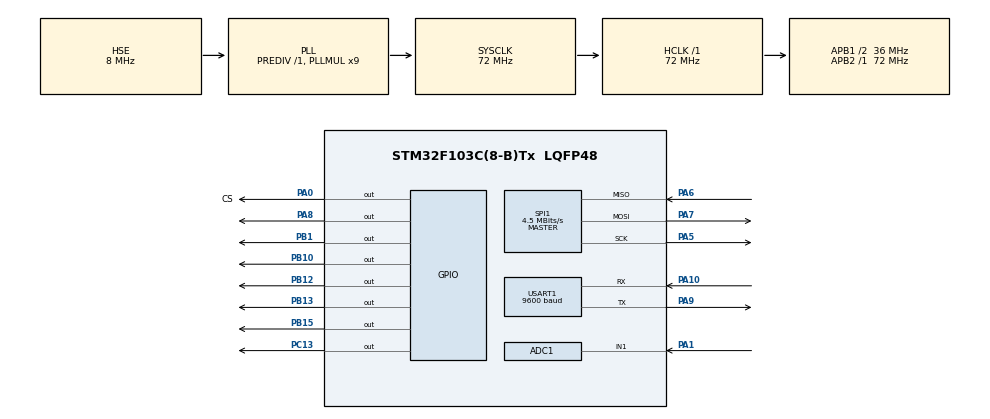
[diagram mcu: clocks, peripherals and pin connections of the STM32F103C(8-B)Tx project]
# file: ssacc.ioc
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ADC1.Channel-1\#ChannelRegularConversion=ADC_CHANNEL_1
ADC1.NbrOfConversionFlag=1
ADC1.Rank-1\#ChannelRegularConversion=1
ADC1.SamplingTime-1\#ChannelRegularConversion=ADC_SAMPLETIME_1CYCLE_5
ADC1.master=1
Mcu.Family=STM32F1
Mcu.Name=STM32F103C(8-B)Tx
Mcu.Package=LQFP48
NVIC.PriorityGroup=NVIC_PRIORITYGROUP_4
NVIC.USART1_IRQn=true\:0\:0\:false\:false\:true\:true\:true\:true
PA0-WKUP.GPIO_Label=CS
PA0-WKUP.Signal=GPIO_Output
PA1.Signal=ADCx_IN1
PA10.Mode=Asynchronous
PA10.Signal=USART1_RX
PA13.Mode=Serial_Wire
PA13.Signal=SYS_JTMS-SWDIO
PA14.Mode=Serial_Wire
PA14.Signal=SYS_JTCK-SWCLK
PA5.Mode=Full_Duplex_Master
PA5.Signal=SPI1_SCK
PA6.Mode=Full_Duplex_Master
PA6.Signal=SPI1_MISO
PA7.Mode=Full_Duplex_Master
PA7.Signal=SPI1_MOSI
PA8.Signal=GPIO_Output
PA9.Mode=Asynchronous
PA9.Signal=USART1_TX
PB1.Signal=GPIO_Output
PB10.Signal=GPIO_Output
PB12.Signal=GPIO_Output
PB13.Signal=GPIO_Output
PB15.Signal=GPIO_Output
PC13-TAMPER-RTC.Signal=GPIO_Output
PC14-OSC32_IN.Mode=LSE-External-Oscillator
PC14-OSC32_IN.Signal=RCC_OSC32_IN
PC15-OSC32_OUT.Mode=LSE-External-Oscillator
PC15-OSC32_OUT.Signal=RCC_OSC32_OUT
PD0-OSC_IN.Mode=HSE-External-Oscillator
PD0-OSC_IN.Signal=RCC_OSC_IN
PD1-OSC_OUT.Mode=HSE-External-Oscillator
PD1-OSC_OUT.Signal=RCC_OSC_OUT
ProjectManager.HeapSize=0x200
ProjectManager.StackSize=0x400
ProjectManager.TargetToolchain=SW4STM32
RCC.ADCPresc=RCC_ADCPCLK2_DIV6
RCC.AHBFreq_Value=72000000
RCC.APB1CLKDivider=RCC_HCLK_DIV2
RCC.APB1Freq_Value=36000000
RCC.APB1TimFreq_Value=72000000
RCC.APB2Freq_Value=72000000
RCC.APB2TimFreq_Value=72000000
RCC.HCLKFreq_Value=72000000
RCC.PLLMUL=RCC_PLL_MUL9
RCC.PLLSourceVirtual=RCC_PLLSOURCE_HSE
RCC.SYSCLKFreq_VALUE=72000000
RCC.SYSCLKSource=RCC_SYSCLKSOURCE_PLLCLK
RCC.USBFreq_Value=72000000
SH.ADCx_IN1.0=ADC1_IN1,IN1
SPI1.BaudRatePrescaler=SPI_BAUDRATEPRESCALER_16
SPI1.CLKPhase=SPI_PHASE_2EDGE
SPI1.CalculateBaudRate=4.5 MBits/s
SPI1.Direction=SPI_DIRECTION_2LINES
SPI1.Mode=SPI_MODE_MASTER
SPI1.VirtualType=VM_MASTER
USART1.BaudRate=9600
USART1.VirtualMode=VM_ASYNC
board=custom

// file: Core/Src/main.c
	/* USER CODE BEGIN Header */
/**
  ******************************************************************************
  * @file           : main.c
  * @brief          : Main program body
  ******************************************************************************
  * @attention
  *
  * Copyright (c) 2023 STMicroelectronics.
  * All rights reserved.
  *
  * This software is licensed under terms that can be found in the LICENSE file
  * in the root directory of this software component.
  * If no LICENSE file comes with this software, it is provided AS-IS.
  *
  ******************************************************************************
  */
/* USER CODE END Header */
#include "main.h"

/* USER CODE BEGIN Includes */
#include "MAX31865_lib.h"
#include <stdio.h>
#include <stdbool.h>
#include <string.h>
#include <math.h>
float PT100_Temperature = 0.0f;
/* USER CODE END Includes */

 ADC_HandleTypeDef hadc1;

SPI_HandleTypeDef hspi1;

UART_HandleTypeDef huart1;

void SystemClock_Config(void);
static void MX_GPIO_Init(void);
static void MX_SPI1_Init(void);
static void MX_USART1_UART_Init(void);
static void MX_ADC1_Init(void);

/* USER CODE BEGIN 0 */
uint16_t analog;
char charToTransmit[15];
char receive[15];
/* USER CODE END 0 */

int main(void)
{

  /* MCU Configuration--------------------------------------------------------*/

  /* Reset of all peripherals, Initializes the Flash interface and the Systick. */
  HAL_Init();

  /* Configure the system clock */
  SystemClock_Config();

  /* Initialize all configured peripherals */
  MX_GPIO_Init();
  MX_SPI1_Init();
  MX_USART1_UART_Init();
  MX_ADC1_Init();
  /* USER CODE BEGIN 2 */
  MAX31865_Init(3);
  HAL_UART_Receive_IT(&huart1,receive,1);
  /* USER CODE END 2 */

  /* Infinite loop */
  while (1)
  {

    /* USER CODE BEGIN 3 */
	PT100_Temperature = MAX31865_Get_Temperature();
	if (PT100_Temperature >= 0) {
		PT100_Temperature = PT100_Temperature + 0.05;
		snprintf(charToTransmit,sizeof(charToTransmit),"1_4_%.0f ",PT100_Temperature);
		HAL_UART_Transmit(&huart1,charToTransmit,strlen(charToTransmit),100);
	}
	else {
		//PT100_Temperature = MAX31865_Get_Temperature() - 0.05;
		PT100_Temperature = -PT100_Temperature + 0.05;
		snprintf(charToTransmit,sizeof(charToTransmit),"1_4_%.0f ",PT100_Temperature);
		HAL_UART_Transmit(&huart1,charToTransmit,strlen(charToTransmit),100);
	}

	HAL_Delay(8000);

  }
  /* USER CODE END 3 */
}

void SystemClock_Config(void)
{
  RCC_OscInitTypeDef RCC_OscInitStruct = {0};
  RCC_ClkInitTypeDef RCC_ClkInitStruct = {0};
  RCC_PeriphCLKInitTypeDef PeriphClkInit = {0};

  /** Initializes the RCC Oscillators according to the specified parameters
  * in the RCC_OscInitTypeDef structure.
  */
  RCC_OscInitStruct.OscillatorType = RCC_OSCILLATORTYPE_HSE;
  RCC_OscInitStruct.HSEState = RCC_HSE_ON;
  RCC_OscInitStruct.HSEPredivValue = RCC_HSE_PREDIV_DIV1;
  RCC_OscInitStruct.HSIState = RCC_HSI_ON;
  RCC_OscInitStruct.PLL.PLLState = RCC_PLL_ON;
  RCC_OscInitStruct.PLL.PLLSource = RCC_PLLSOURCE_HSE;
  RCC_OscInitStruct.PLL.PLLMUL = RCC_PLL_MUL9;
  if (HAL_RCC_OscConfig(&RCC_OscInitStruct) != HAL_OK)
  {
    Error_Handler();
  }

  /** Initializes the CPU, AHB and APB buses clocks
  */
  RCC_ClkInitStruct.ClockType = RCC_CLOCKTYPE_HCLK|RCC_CLOCKTYPE_SYSCLK
                              |RCC_CLOCKTYPE_PCLK1|RCC_CLOCKTYPE_PCLK2;
  RCC_ClkInitStruct.SYSCLKSource = RCC_SYSCLKSOURCE_PLLCLK;
  RCC_ClkInitStruct.AHBCLKDivider = RCC_SYSCLK_DIV1;
  RCC_ClkInitStruct.APB1CLKDivider = RCC_HCLK_DIV2;
  RCC_ClkInitStruct.APB2CLKDivider = RCC_HCLK_DIV1;

  if (HAL_RCC_ClockConfig(&RCC_ClkInitStruct, FLASH_LATENCY_2) != HAL_OK)
  {
    Error_Handler();
  }
  PeriphClkInit.PeriphClockSelection = RCC_PERIPHCLK_ADC;
  PeriphClkInit.AdcClockSelection = RCC_ADCPCLK2_DIV6;
  if (HAL_RCCEx_PeriphCLKConfig(&PeriphClkInit) != HAL_OK)
  {
    Error_Handler();
  }
}

static void MX_ADC1_Init(void)
{

  ADC_ChannelConfTypeDef sConfig = {0};

  /** Common config
  */
  hadc1.Instance = ADC1;
  hadc1.Init.ScanConvMode = ADC_SCAN_DISABLE;
  hadc1.Init.ContinuousConvMode = DISABLE;
  hadc1.Init.DiscontinuousConvMode = DISABLE;
  hadc1.Init.ExternalTrigConv = ADC_SOFTWARE_START;
  hadc1.Init.DataAlign = ADC_DATAALIGN_RIGHT;
  hadc1.Init.NbrOfConversion = 1;
  if (HAL_ADC_Init(&hadc1) != HAL_OK)
  {
    Error_Handler();
  }

  /** Configure Regular Channel
  */
  sConfig.Channel = ADC_CHANNEL_1;
  sConfig.Rank = ADC_REGULAR_RANK_1;
  sConfig.SamplingTime = ADC_SAMPLETIME_1CYCLE_5;
  if (HAL_ADC_ConfigChannel(&hadc1, &sConfig) != HAL_OK)
  {
    Error_Handler();
  }

}

static void MX_SPI1_Init(void)
{

  /* SPI1 parameter configuration*/
  hspi1.Instance = SPI1;
  hspi1.Init.Mode = SPI_MODE_MASTER;
  hspi1.Init.Direction = SPI_DIRECTION_2LINES;
  hspi1.Init.DataSize = SPI_DATASIZE_8BIT;
  hspi1.Init.CLKPolarity = SPI_POLARITY_LOW;
  hspi1.Init.CLKPhase = SPI_PHASE_2EDGE;
  hspi1.Init.NSS = SPI_NSS_SOFT;
  hspi1.Init.BaudRatePrescaler = SPI_BAUDRATEPRESCALER_16;
  hspi1.Init.FirstBit = SPI_FIRSTBIT_MSB;
  hspi1.Init.TIMode = SPI_TIMODE_DISABLE;
  hspi1.Init.CRCCalculation = SPI_CRCCALCULATION_DISABLE;
  hspi1.Init.CRCPolynomial = 10;
  if (HAL_SPI_Init(&hspi1) != HAL_OK)
  {
    Error_Handler();
  }

}

static void MX_USART1_UART_Init(void)
{

  huart1.Instance = USART1;
  huart1.Init.BaudRate = 9600;
  huart1.Init.WordLength = UART_WORDLENGTH_8B;
  huart1.Init.StopBits = UART_STOPBITS_1;
  huart1.Init.Parity = UART_PARITY_NONE;
  huart1.Init.Mode = UART_MODE_TX_RX;
  huart1.Init.HwFlowCtl = UART_HWCONTROL_NONE;
  huart1.Init.OverSampling = UART_OVERSAMPLING_16;
  if (HAL_UART_Init(&huart1) != HAL_OK)
  {
    Error_Handler();
  }

}

static void MX_GPIO_Init(void)
{
  GPIO_InitTypeDef GPIO_InitStruct = {0};

  /* GPIO Ports Clock Enable */
  __HAL_RCC_GPIOC_CLK_ENABLE();
  __HAL_RCC_GPIOD_CLK_ENABLE();
  __HAL_RCC_GPIOA_CLK_ENABLE();
  __HAL_RCC_GPIOB_CLK_ENABLE();

  /*Configure GPIO pin Output Level */
  HAL_GPIO_WritePin(GPIOC, GPIO_PIN_13, GPIO_PIN_RESET);

  /*Configure GPIO pin Output Level */
  HAL_GPIO_WritePin(GPIOA, CS_Pin|GPIO_PIN_8, GPIO_PIN_RESET);

  /*Configure GPIO pin Output Level */
  HAL_GPIO_WritePin(GPIOB, GPIO_PIN_1|GPIO_PIN_10|GPIO_PIN_12|GPIO_PIN_13
                          |GPIO_PIN_15, GPIO_PIN_RESET);

  /*Configure GPIO pin : PC13 */
  GPIO_InitStruct.Pin = GPIO_PIN_13;
  GPIO_InitStruct.Mode = GPIO_MODE_OUTPUT_PP;
  GPIO_InitStruct.Pull = GPIO_NOPULL;
  GPIO_InitStruct.Speed = GPIO_SPEED_FREQ_LOW;
  HAL_GPIO_Init(GPIOC, &GPIO_InitStruct);

  /*Configure GPIO pins : CS_Pin PA8 */
  GPIO_InitStruct.Pin = CS_Pin|GPIO_PIN_8;
  GPIO_InitStruct.Mode = GPIO_MODE_OUTPUT_PP;
  GPIO_InitStruct.Pull = GPIO_NOPULL;
  GPIO_InitStruct.Speed = GPIO_SPEED_FREQ_LOW;
  HAL_GPIO_Init(GPIOA, &GPIO_InitStruct);

  /*Configure GPIO pins : PB1 PB10 PB12 PB13
                           PB15 */
  GPIO_InitStruct.Pin = GPIO_PIN_1|GPIO_PIN_10|GPIO_PIN_12|GPIO_PIN_13
                          |GPIO_PIN_15;
  GPIO_InitStruct.Mode = GPIO_MODE_OUTPUT_PP;
  GPIO_InitStruct.Pull = GPIO_NOPULL;
  GPIO_InitStruct.Speed = GPIO_SPEED_FREQ_LOW;
  HAL_GPIO_Init(GPIOB, &GPIO_InitStruct);

}

void Error_Handler(void)
{
  __disable_irq();
  while (1)
  {
  }
}
